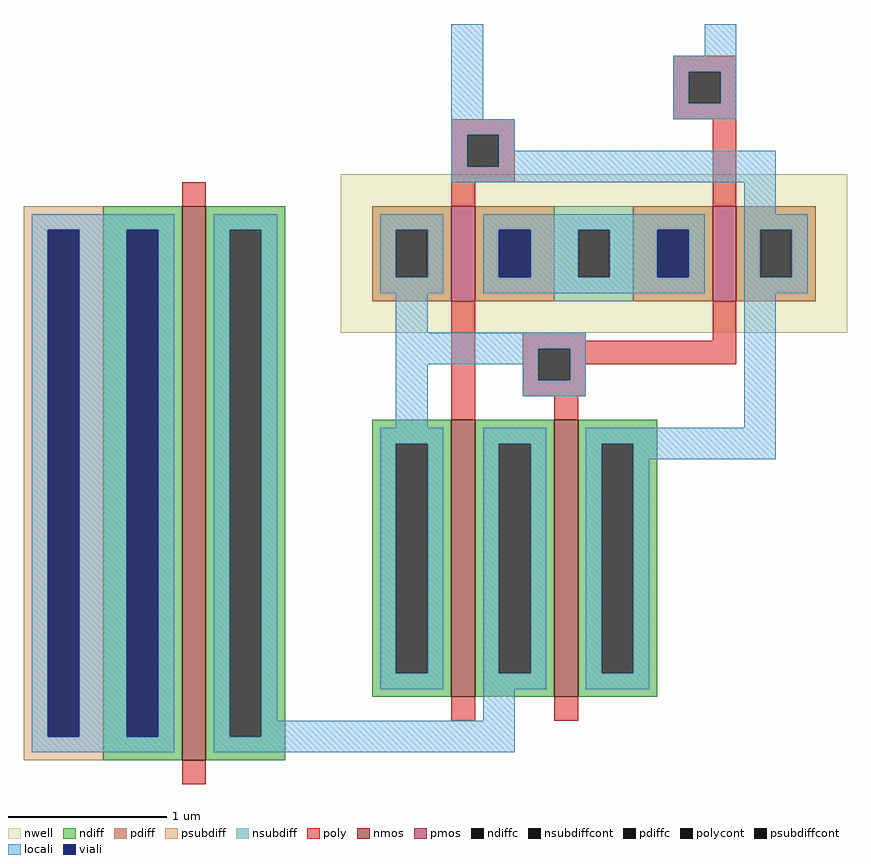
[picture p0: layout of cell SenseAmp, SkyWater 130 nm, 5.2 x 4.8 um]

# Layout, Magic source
magic
tech sky130A
<< nwell >>
rect 100 270 420 370
<< nmos >>
rect 0 0 15 350
rect 170 40 185 215
rect 235 40 250 215
<< pmos >>
rect 170 290 185 350
rect 335 290 350 350
<< ndiff >>
rect -50 335 0 350
rect -50 15 -35 335
rect -15 15 0 335
rect -50 0 0 15
rect 15 335 65 350
rect 15 15 30 335
rect 50 15 65 335
rect 120 200 170 215
rect 120 55 135 200
rect 155 55 170 200
rect 120 40 170 55
rect 185 200 235 215
rect 185 55 200 200
rect 220 55 235 200
rect 185 40 235 55
rect 250 200 300 215
rect 250 55 265 200
rect 285 55 300 200
rect 250 40 300 55
rect 15 0 65 15
<< pdiff >>
rect 120 335 170 350
rect 120 305 135 335
rect 155 305 170 335
rect 120 290 170 305
rect 185 335 235 350
rect 285 335 335 350
rect 185 305 200 335
rect 220 305 235 335
rect 285 305 300 335
rect 320 305 335 335
rect 185 290 235 305
rect 285 290 335 305
rect 350 335 400 350
rect 350 305 365 335
rect 385 305 400 335
rect 350 290 400 305
<< ndiffc >>
rect -35 15 -15 335
rect 30 15 50 335
rect 135 55 155 200
rect 200 55 220 200
rect 265 55 285 200
<< pdiffc >>
rect 135 305 155 335
rect 200 305 220 335
rect 300 305 320 335
rect 365 305 385 335
<< psubdiff >>
rect -100 335 -50 350
rect -100 15 -85 335
rect -65 15 -50 335
rect -100 0 -50 15
<< nsubdiff >>
rect 235 335 285 350
rect 235 305 250 335
rect 270 305 285 335
rect 235 290 285 305
<< psubdiffcont >>
rect -85 15 -65 335
<< nsubdiffcont >>
rect 250 305 270 335
<< poly >>
rect 310 435 350 445
rect 310 415 320 435
rect 340 415 350 435
rect 310 405 350 415
rect 170 395 210 405
rect 170 375 180 395
rect 200 375 210 395
rect 170 365 210 375
rect 0 350 15 365
rect 170 350 185 365
rect 335 350 350 405
rect 170 215 185 290
rect 215 265 255 270
rect 335 265 350 290
rect 215 260 350 265
rect 215 240 225 260
rect 245 250 350 260
rect 245 240 255 250
rect 215 230 255 240
rect 235 215 250 230
rect 170 25 185 40
rect 235 25 250 40
rect 0 -15 15 0
<< polycont >>
rect 320 415 340 435
rect 180 375 200 395
rect 225 240 245 260
<< locali >>
rect 170 405 190 465
rect 330 445 350 465
rect 310 435 350 445
rect 310 415 320 435
rect 340 415 350 435
rect 310 405 350 415
rect 170 395 210 405
rect 170 375 180 395
rect 200 385 210 395
rect 200 375 375 385
rect 170 365 375 375
rect 355 345 375 365
rect -95 335 -5 345
rect -95 15 -85 335
rect -65 15 -35 335
rect -15 15 -5 335
rect -95 5 -5 15
rect 20 335 60 345
rect 20 15 30 335
rect 50 25 60 335
rect 125 335 165 345
rect 125 305 135 335
rect 155 305 165 335
rect 125 295 165 305
rect 190 335 330 345
rect 190 305 200 335
rect 220 305 250 335
rect 270 305 300 335
rect 320 305 330 335
rect 190 295 330 305
rect 355 335 395 345
rect 355 305 365 335
rect 385 305 395 335
rect 355 295 395 305
rect 135 270 155 295
rect 135 260 255 270
rect 135 250 225 260
rect 135 210 155 250
rect 215 240 225 250
rect 245 240 255 260
rect 215 230 255 240
rect 355 210 375 295
rect 125 200 165 210
rect 125 55 135 200
rect 155 55 165 200
rect 125 45 165 55
rect 190 200 230 210
rect 190 55 200 200
rect 220 55 230 200
rect 190 45 230 55
rect 255 200 375 210
rect 255 55 265 200
rect 285 190 375 200
rect 285 55 295 190
rect 255 45 295 55
rect 190 25 210 45
rect 50 15 210 25
rect 20 5 210 15
<< viali >>
rect -85 15 -65 335
rect -35 15 -15 335
rect 200 305 220 335
rect 300 305 320 335
<< end >>
